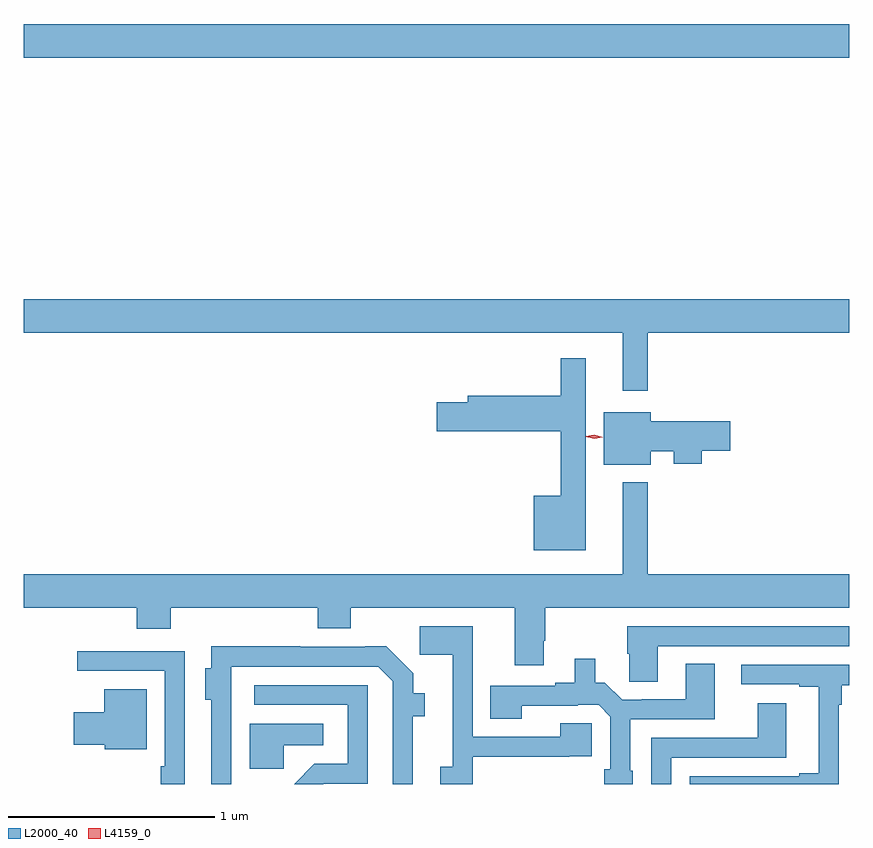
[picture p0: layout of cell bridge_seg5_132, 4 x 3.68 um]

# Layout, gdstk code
import gdstk
lib = gdstk.Library(unit=1e-6, precision=1e-09)
def R(c, l, rs):  # rectangles x0, y0, x1, y1
    for r in rs: c.add(gdstk.rectangle(r[:2], r[2:], *l))
def P(c, l, *ps):  # polygons
    for p in ps: c.add(gdstk.Polygon(p, *l))
L2000_40 = (2000, 40)
L4159_0 = (4159, 0)

bridge_seg5_132 = lib.new_cell('bridge_seg5_132')
R(bridge_seg5_132, L2000_40, [(362.024,863.42,366.024,863.584)])
P(bridge_seg5_132, L2000_40, [(365.047,862.088),(366.024,862.088),(366.024,862.252),(362.024,862.252),(362.024,862.088),(364.925,862.088),(364.925,861.807),(365.047,861.807)],
  [(364.747,861.964),(364.626,861.964),(364.626,861.783),(364.175,861.783),(364.175,861.753),(364.026,861.753),(364.026,861.611),(364.626,861.611),(364.626,861.298),(364.496,861.298),(364.496,861.035),(364.747,861.035)],
  [(365.062,861.515),(365.174,861.515),(365.174,861.455),(365.309,861.455),(365.309,861.518),(365.446,861.518),(365.446,861.66),(365.062,861.66),(365.062,861.703),(364.835,861.703),(364.835,861.449),(365.062,861.449)],
  [(364.543,860.596),(364.551,860.596),(364.551,860.756),(366.024,860.756),(366.024,860.92),(365.047,860.92),(365.047,861.364),(364.925,861.364),(364.925,860.92),(362.024,860.92),(362.024,860.756),(362.573,860.756),(362.573,860.654),(362.738,860.654),(362.738,860.756),(363.449,860.756),(363.449,860.657),(363.609,860.657),(363.609,860.756),(364.403,860.756),(364.403,860.478),(364.543,860.478)],
  [(364.2,860.036),(364.667,860.036),(364.667,860.037),(364.777,860.037),(364.777,860.198),(364.624,860.198),(364.624,860.133),(364.2,860.133),(364.2,860.668),(363.942,860.668),(363.942,860.529),(364.103,860.529),(364.103,859.986),(364.041,859.986),(364.041,859.903),(364.2,859.903)],
  [(365.095,860.571),(366.024,860.571),(366.024,860.667),(364.948,860.667),(364.948,860.535),(364.957,860.535),(364.957,860.398),(365.095,860.398)],
  [(363.03,860.472),(363.741,860.472),(363.813,860.4),(363.813,859.903),(363.91,859.903),(363.91,860.232),(363.967,860.232),(363.967,860.342),(363.911,860.342),(363.911,860.44),(363.781,860.57),(363.68,860.57),(363.68,860.568),(363.365,860.568),(363.365,860.57),(362.934,860.57),(362.934,860.464),(362.903,860.464),(362.903,860.312),(362.934,860.312),(362.934,859.903),(363.03,859.903)],
  [(362.805,860.547),(362.283,860.547),(362.283,860.451),(362.709,860.451),(362.709,859.99),(362.689,859.99),(362.689,859.903),(362.805,859.903)],
  [(364.975,859.968),(364.962,859.968),(364.962,860.217),(365.371,860.217),(365.371,860.486),(365.231,860.486),(365.231,860.313),(365.017,860.313),(365.017,860.31),(364.923,860.31),(364.839,860.394),(364.792,860.394),(364.792,860.509),(364.694,860.509),(364.694,860.394),(364.598,860.394),(364.598,860.379),(364.285,860.379),(364.285,860.218),(364.437,860.218),(364.437,860.283),(364.709,860.283),(364.709,860.286),(364.809,860.286),(364.866,860.229),(364.866,859.974),(364.836,859.974),(364.836,859.903),(364.975,859.903)],
  [(365.973,860.288),(365.986,860.288),(365.986,860.382),(366.024,860.382),(366.024,860.481),(365.499,860.481),(365.499,860.385),(365.78,860.385),(365.78,860.373),(365.876,860.373),(365.876,859.954),(365.78,859.954),(365.78,859.941),(365.25,859.941),(365.25,859.903),(365.973,859.903)],
  [(363.477,859.905),(363.69,859.905),(363.69,860.382),(363.141,860.382),(363.141,860.286),(363.594,860.286),(363.594,860.001),(363.432,860.001),(363.334,859.903),(363.475,859.903)],
  [(362.62,860.362),(362.414,860.362),(362.414,860.251),(362.268,860.251),(362.268,860.093),(362.418,860.093),(362.418,860.072),(362.62,860.072)],
  [(365.16,860.031),(365.719,860.031),(365.719,860.293),(365.579,860.293),(365.579,860.127),(365.064,860.127),(365.064,859.903),(365.16,859.903)],
  [(363.283,860.09),(363.475,860.09),(363.475,860.194),(363.119,860.194),(363.119,859.976),(363.283,859.976)])
P(bridge_seg5_132, L4159_0, [(364.788,861.575),(364.748,861.586),(364.747,861.586),(364.748,861.587),(364.789,861.595),(364.829,861.583),(364.83,861.583),(364.829,861.583)])

lib.write_gds('bridge_seg5_132.gds')
